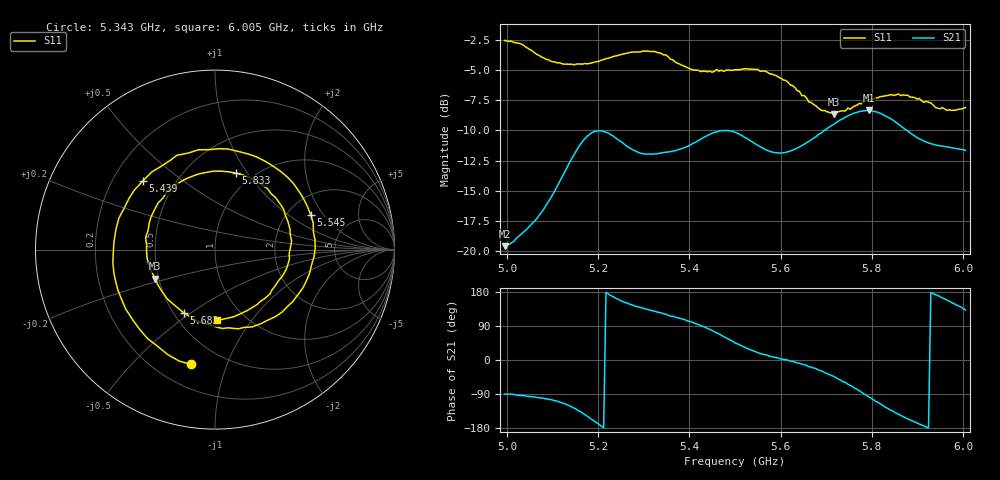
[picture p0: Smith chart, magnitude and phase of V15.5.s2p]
!File created by NanoVNA
# Hz S RI R 50
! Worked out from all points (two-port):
!   201 points, 4.995 GHz to 6.005 GHz, reference 50 ohm
!   highest |S21| = -8.33 dB at 5.793 GHz (marker M1); lowest = -19.6 dB at 4.995 GHz (marker M2)
!   |S21| within 3 dB of the highest: 5.395 GHz to 5.554 GHz (159.1 MHz wide, 2.91 % of centre); 5.643 GHz to 5.96 GHz (316.2 MHz wide, 5.45 % of centre)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
!   lowest |S11| = -8.6 dB at 5.717 GHz (marker M3), VSWR 2.18, Z = 23.9 - j8.99 ohm
!   |S11| at or under -10 dB: nowhere
!   S12 and S22 are empty: the file has one direction only
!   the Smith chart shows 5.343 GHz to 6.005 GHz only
!   S11 on the Smith chart (normalised r, x): 5.343 GHz: 0.34, -0.75; 5.439 GHz: 0.33, +0.36; 5.545 GHz: 2.66, +1.52; 5.682 GHz: 0.56, -0.47; 5.833 GHz: 0.83, +0.88; 6.005 GHz: 0.75, -0.70
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4.995e9  0.2073 -0.72  0.000398 -0.1044  0 0  0 0
5.03035e9  -0.309 -0.6561  -0.00735 -0.1164  0 0  0 0
5.0758e9  -0.6336 -0.0874  -0.0256 -0.1421  0 0  0 0
5.12125e9  -0.3937 0.4511  -0.0809 -0.1861  0 0  0 0
5.1667e9  0.1156 0.5862  -0.2216 -0.1809  0 0  0 0
5.2172e9  0.5533 0.2995  -0.3109 0.00885  0 0  0 0
5.2576e9  0.6505 -0.1111  -0.2448 0.1293  0 0  0 0
5.33335e9  0.00709 -0.6656  -0.147 0.2071  0 0  0 0
5.34345e9  -0.1337 -0.6389  -0.1351 0.2175  0 0  0 0
5.39395e9  -0.5624 -0.1378  -0.0646 0.2629  0 0  0 0
5.4394e9  -0.4017 0.3829  0.0338 0.2992  0 0  0 0
5.5e9  0.2317 0.5165  0.2197 0.2198  0 0  0 0
5.54545e9  0.5334 0.1932  0.258 0.1024  0 0  0 0
5.6212e9  0.2853 -0.3973  0.2593 -0.0123  0 0  0 0
5.6717e9  -0.1168 -0.3897  0.2742 -0.105  0 0  0 0
5.6818e9  -0.1742 -0.3525  0.2738 -0.1295  0 0  0 0
5.71715e9  -0.333 -0.1621  0.2434 -0.2314  0 0  0 0
5.7929e9  -0.2003 0.3727  -0.0439 -0.3808  0 0  0 0
5.8333e9  0.1145 0.4267  -0.2173 -0.2879  0 0  0 0
5.83835e9  0.1488 0.4176  -0.2302 -0.272  0 0  0 0
5.91915e9  0.415 -0.0526  -0.2826 -0.0174  0 0  0 0
6.005e9  0.0123 -0.3937  -0.1745 0.1946  0 0  0 0
